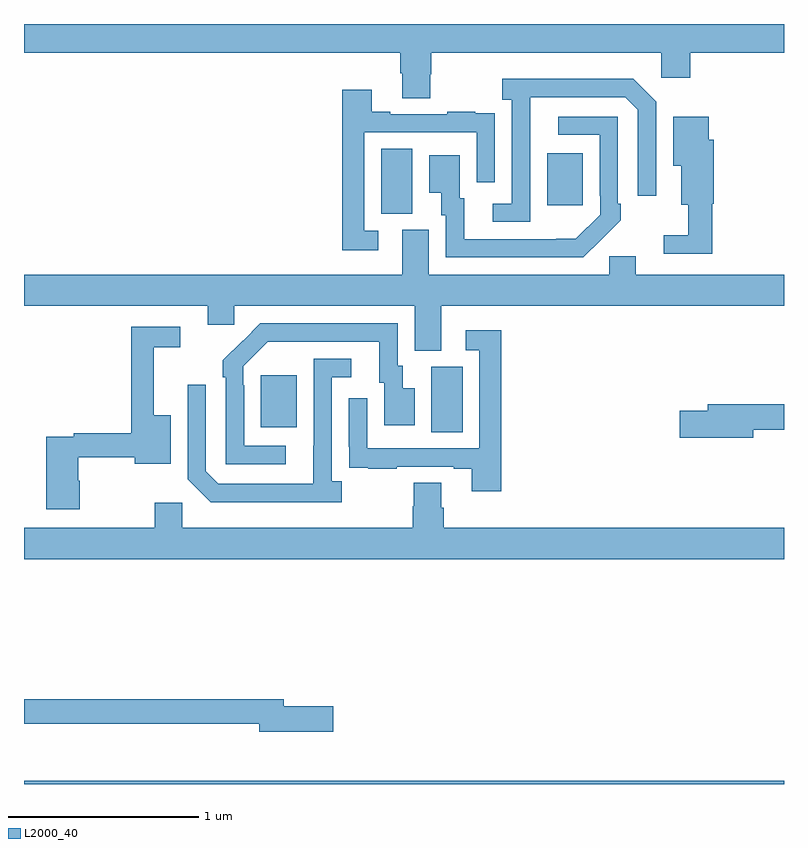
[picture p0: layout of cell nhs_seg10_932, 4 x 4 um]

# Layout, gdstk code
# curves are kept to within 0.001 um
import gdstk
lib = gdstk.Library(unit=1e-6, precision=1e-09)
def R(c, l, rs):  # rectangles x0, y0, x1, y1
    for r in rs: c.add(gdstk.rectangle(r[:2], r[2:], *l))
def P(c, l, *ps):  # polygons
    for p in ps: c.add(gdstk.Polygon(p, *l))
L2000_40 = (2000, 40)

nhs_seg10_932 = lib.new_cell('nhs_seg10_932')
R(nhs_seg10_932, L2000_40, [(159,1264.5,163,1264.516), (161.144,1266.352,161.308,1266.696), (160.247,1266.377,160.435,1266.652), (160.88,1267.501,161.044,1267.844), (161.753,1267.545,161.941,1267.819)])
P(nhs_seg10_932, L2000_40, [(161.139,1268.235),(161.144,1268.235),(161.144,1268.348),(162.354,1268.348),(162.354,1268.217),(162.506,1268.217),(162.506,1268.348),(163,1268.348),(163,1268.5),(159,1268.5),(159,1268.348),(160.979,1268.348),(160.979,1268.242),(160.991,1268.242),(160.991,1268.11),(161.139,1268.11)],
  [(161.664,1267.915),(161.665,1268.115),(162.165,1268.115),(162.231,1268.049),(162.231,1267.596),(162.327,1267.596),(162.327,1268.091),(162.206,1268.212),(161.517,1268.212),(161.517,1268.102),(161.568,1268.102),(161.568,1267.554),(161.466,1267.554),(161.466,1267.458),(161.664,1267.458)],
  [(160.864,1267.413),(160.791,1267.413),(160.791,1267.929),(161.382,1267.929),(161.382,1267.668),(161.478,1267.668),(161.478,1267.922),(161.477,1267.922),(161.477,1268.031),(161.375,1268.031),(161.375,1268.038),(161.227,1268.038),(161.227,1268.025),(160.927,1268.025),(160.927,1268.038),(160.831,1268.038),(160.831,1268.155),(160.675,1268.155),(160.675,1267.308),(160.864,1267.308)],
  [(162.035,1267.363),(162.036,1267.362),(162.141,1267.467),(162.141,1267.555),(162.126,1267.555),(162.126,1268.013),(161.811,1268.013),(161.811,1267.917),(162.03,1267.917),(162.03,1267.597),(162.033,1267.597),(162.033,1267.497),(161.905,1267.369),(161.317,1267.368),(161.317,1267.584),(161.293,1267.584),(161.293,1267.81),(161.132,1267.81),(161.132,1267.613),(161.195,1267.613),(161.195,1267.494),(161.22,1267.494),(161.22,1267.272),(161.944,1267.272)],
  [(162.623,1267.554),(162.629,1267.554),(162.629,1267.89),(162.604,1267.89),(162.604,1268.011),(162.416,1268.011),(162.416,1267.754),(162.458,1267.754),(162.458,1267.55),(162.495,1267.55),(162.495,1267.387),(162.366,1267.387),(162.366,1267.29),(162.623,1267.29)],
  [(161.197,1267.016),(163,1267.016),(163,1267.18),(162.22,1267.18),(162.22,1267.278),(162.081,1267.278),(162.081,1267.18),(161.131,1267.18),(161.131,1267.416),(160.991,1267.416),(160.991,1267.18),(159,1267.18),(159,1267.016),(159.968,1267.016),(159.968,1266.918),(160.107,1266.918),(160.107,1267.016),(161.057,1267.016),(161.057,1266.781),(161.197,1266.781)],
  [(160.378,1266.279),(160.158,1266.279),(160.158,1266.599),(160.155,1266.599),(160.155,1266.699),(160.284,1266.828),(160.871,1266.828),(160.871,1266.612),(160.895,1266.612),(160.895,1266.387),(161.056,1266.387),(161.056,1266.583),(160.993,1266.583),(160.993,1266.702),(160.968,1266.702),(160.968,1266.924),(160.244,1266.924),(160.047,1266.729),(160.047,1266.641),(160.062,1266.641),(160.062,1266.183),(160.378,1266.183)],
  [(159.294,1266.096),(159.286,1266.096),(159.286,1266.219),(159.584,1266.219),(159.584,1266.185),(159.772,1266.185),(159.772,1266.442),(159.683,1266.442),(159.683,1266.798),(159.823,1266.798),(159.823,1266.906),(159.565,1266.906),(159.565,1266.347),(159.262,1266.347),(159.262,1266.327),(159.116,1266.327),(159.116,1265.946),(159.294,1265.946)],
  [(161.513,1266.889),(161.325,1266.889),(161.325,1266.783),(161.397,1266.783),(161.397,1266.267),(160.806,1266.267),(160.806,1266.529),(160.71,1266.529),(160.71,1266.274),(160.711,1266.274),(160.711,1266.165),(160.813,1266.165),(160.813,1266.159),(160.961,1266.159),(160.961,1266.171),(161.261,1266.171),(161.261,1266.159),(161.357,1266.159),(161.357,1266.042),(161.513,1266.042)],
  [(160.672,1266.094),(160.62,1266.094),(160.62,1266.642),(160.723,1266.642),(160.723,1266.738),(160.524,1266.738),(160.523,1266.081),(160.023,1266.081),(159.957,1266.147),(159.957,1266.601),(159.861,1266.601),(159.861,1266.105),(159.982,1265.984),(160.672,1265.984)],
  [(162.838,1266.364),(163,1266.364),(163,1266.5),(162.599,1266.5),(162.599,1266.464),(162.45,1266.464),(162.45,1266.322),(162.838,1266.322)],
  [(163,1265.848),(161.21,1265.848),(161.21,1265.954),(161.197,1265.954),(161.197,1266.086),(161.05,1266.086),(161.05,1265.961),(161.045,1265.961),(161.045,1265.848),(159.834,1265.848),(159.834,1265.98),(159.688,1265.98),(159.688,1265.848),(159,1265.848),(159,1265.684),(163,1265.684)],
  [(160.627,1264.91),(160.366,1264.91),(160.366,1264.946),(159,1264.946),(159,1264.818),(160.238,1264.818),(160.238,1264.775),(160.627,1264.775)])

lib.write_gds('nhs_seg10_932.gds')
